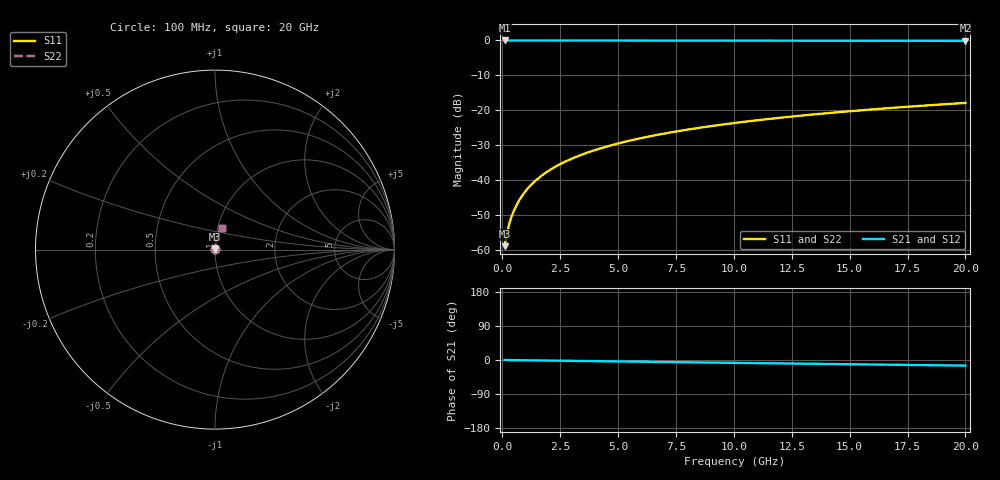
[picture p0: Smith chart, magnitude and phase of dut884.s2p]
! Touchstone file exported from HFSS 2026.1.0
!  File:  C:/ffzhzh/LocalFiles/Ansys_Project_Files/temp_train_BSMRDL_884_1783171105_51560.aedt
!  Generated:  09:19:38 PM Jul  4, 2026
!  Design:  BSMRDL
!  Project:  temp_train_BSMRDL_884_1783171105_51560
! Variables:
!  h_bsmrdl = 3.84um
!  h_ox = 20um
!  h_rdl = 5um
!  h_sub = 80um
!  h_tmrdl = 5um
!  h_tsv = 80um
!  h_via = 3um
!  l_bsmrdl = 191.49um
!  l_sub = 591.49um
!  l_tmrdl = 200um
!  m_sub = 200um
!  pitch = 50.42um
!  r_tsv = 6um
!  s_tmrdl = 10um
!  w_bsmrdl = 28.82um
!  w_sub = 500um
!  w_tmrdl = 12um
!  x_tsv_center1 = 206um
!  x_tsv_center2 = 426.31um
!  x_tsv_center3 = 638.31um
!  x_tsv_center4 = 858.62um
!  x_tsv_center5 = 1070.62um
!  x_tsv_center6 = 1290.93um
# GHz S MA R 50.000000
! Terminal data exported
! Port[1] = BSM_RDL1_1_T1
! Port[2] = BSM_RDL1_1_T2
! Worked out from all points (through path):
!   200 points, 100 MHz to 20 GHz, reference 50 ohm
!   highest |S21| = -0.01 dB at 100 MHz (marker M1); lowest = -0.1 dB at 20 GHz (marker M2)
!   group delay of S21, straight-line fit = 2.05 ps
!   lowest |S11| = -58.8 dB at 100 MHz (marker M3), VSWR 1.00, Z = 50.1 + j0.0771 ohm
!   |S11| at or under -10 dB: start of sweep to end of sweep
!   |S22| runs from -58.8 to -17.9 dB; largest |S21 - S12| = 3.4e-15
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0.1  0.001148 42.1  0.9991 -0.1  0.9991 -0.1  0.001148 42.1
! Gamma 0 0 0 0
! Port Impedance 50 0 50 0
0.2  0.001754 58.4  0.9991 -0.2  0.9991 -0.2  0.001754 58.4
0.3  0.002391 65.8  0.999 -0.2  0.999 -0.2  0.002391 65.8
0.4  0.003032 70.2  0.999 -0.3  0.999 -0.3  0.003032 70.2
0.5  0.003679 73.2  0.9989 -0.4  0.9989 -0.4  0.003679 73.2
0.6  0.004332 75.4  0.9989 -0.5  0.9989 -0.5  0.004332 75.4
0.8  0.005651 78.3  0.9989 -0.6  0.9989 -0.6  0.005651 78.3
1.1  0.007653 80.7  0.9988 -0.8  0.9988 -0.8  0.007653 80.7
1.5  0.01034 82.3  0.9988 -1.1  0.9988 -1.1  0.01034 82.3
1.8  0.01236 83.0  0.9987 -1.4  0.9987 -1.4  0.01236 83.0
2.1  0.01438 83.4  0.9986 -1.6  0.9986 -1.6  0.01438 83.4
2.7  0.01842 83.7  0.9985 -2.1  0.9985 -2.1  0.01842 83.7
3.5  0.02376 83.6  0.9982 -2.7  0.9982 -2.7  0.02376 83.6
4.2  0.02841 83.4  0.9979 -3.2  0.9979 -3.2  0.02841 83.4
5  0.03369 83.0  0.9976 -3.8  0.9976 -3.8  0.03369 83.0
5.9  0.03958 82.5  0.9971 -4.5  0.9971 -4.5  0.03958 82.5
6.8  0.04543 82.0  0.9967 -5.1  0.9967 -5.1  0.04543 82.0
8.3  0.0551 81.1  0.9959 -6.2  0.9959 -6.2  0.0551 81.1
10.1  0.06659 79.9  0.9949 -7.6  0.9949 -7.6  0.06659 79.9
13.4  0.08739 77.8  0.9928 -10.0  0.9928 -10.0  0.08739 77.8
16.7  0.1079 75.6  0.9903 -12.4  0.9903 -12.4  0.1079 75.6
20  0.128 73.3  0.9876 -14.8  0.9876 -14.8  0.128 73.3
